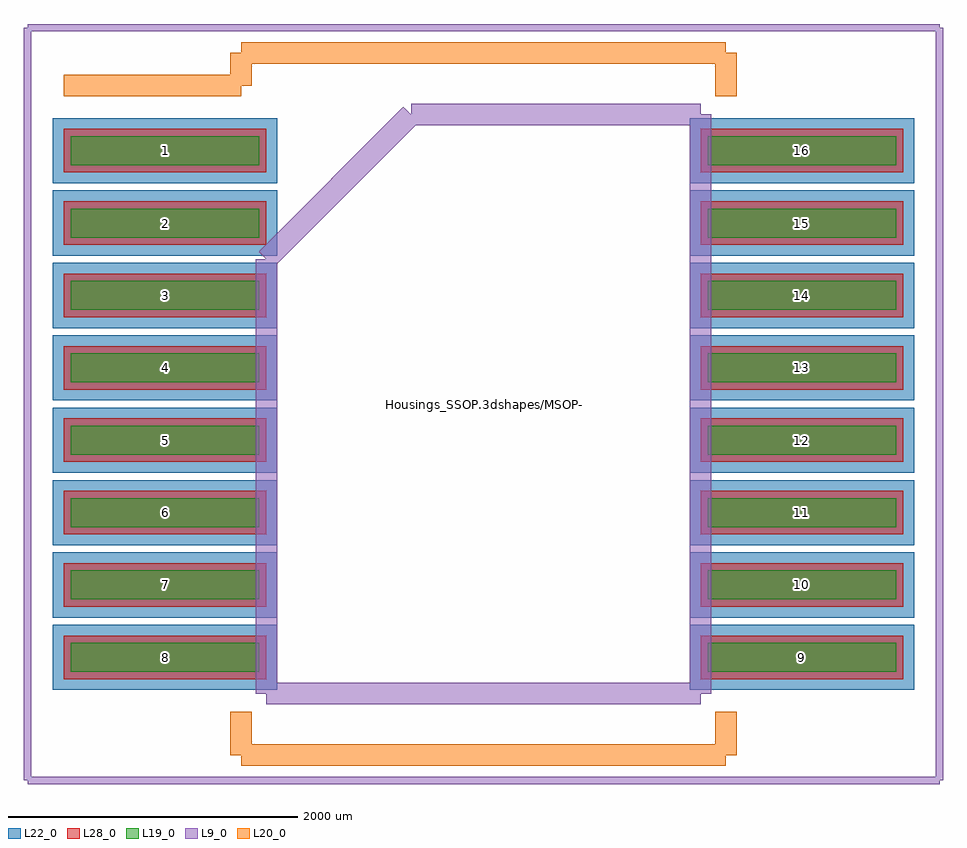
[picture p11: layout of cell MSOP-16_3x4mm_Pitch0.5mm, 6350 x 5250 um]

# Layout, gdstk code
import gdstk
lib = gdstk.Library(unit=1e-6, precision=1e-09)
def R(c, l, rs):  # rectangles x0, y0, x1, y1
    for r in rs: c.add(gdstk.rectangle(r[:2], r[2:], *l))
def A(c, l, x, y, w, h, nx, ny, dx, dy):  # array of equal rectangles
    R(c, l, [(x+i*dx, y+j*dy, x+i*dx+w, y+j*dy+h) for i in range(nx) for j in range(ny)])
L9_0 = (9, 0)
L19_0 = (19, 0)
L20_0 = (20, 0)
L22_0 = (22, 0)
L28_0 = (28, 0)

msop_16_3x4mm_pitch0_5mm = lib.new_cell('MSOP-16_3x4mm_Pitch0.5mm')
A(msop_16_3x4mm_pitch0_5mm, L19_0, -2850, -1850, 1300, 200, 1, 8, 0, 500)
A(msop_16_3x4mm_pitch0_5mm, L19_0, 1550, -1850, 1300, 200, 1, 8, 0, 500)
A(msop_16_3x4mm_pitch0_5mm, L22_0, -2975, -1975, 1550, 450, 1, 8, 0, 500)
A(msop_16_3x4mm_pitch0_5mm, L22_0, 1425, -1975, 1550, 450, 1, 8, 0, 500)
A(msop_16_3x4mm_pitch0_5mm, L28_0, -2900, -1900, 1400, 300, 1, 8, 0, 500)
A(msop_16_3x4mm_pitch0_5mm, L28_0, 1500, -1900, 1400, 300, 1, 8, 0, 500)
msop_16_3x4mm_pitch0_5mm.add(gdstk.FlexPath([(-1675,2200),(-2900,2200)], 149.998, ends="flush", simple_path=True, layer=20, datatype=0))  # L20_0
msop_16_3x4mm_pitch0_5mm.add(gdstk.FlexPath([(-1675,-2425),(1675,-2425)], 149.998, ends="flush", simple_path=True, layer=20, datatype=0))  # L20_0
msop_16_3x4mm_pitch0_5mm.add(gdstk.FlexPath([(-1675,2425),(1675,2425)], 149.998, ends="flush", simple_path=True, layer=20, datatype=0))  # L20_0
msop_16_3x4mm_pitch0_5mm.add(gdstk.FlexPath([(-1675,-2425),(-1675,-2125)], 149.998, ends="flush", simple_path=True, layer=20, datatype=0))  # L20_0
msop_16_3x4mm_pitch0_5mm.add(gdstk.FlexPath([(1675,-2425),(1675,-2125)], 149.998, ends="flush", simple_path=True, layer=20, datatype=0))  # L20_0
msop_16_3x4mm_pitch0_5mm.add(gdstk.FlexPath([(1675,2425),(1675,2125)], 149.998, ends="flush", simple_path=True, layer=20, datatype=0))  # L20_0
msop_16_3x4mm_pitch0_5mm.add(gdstk.FlexPath([(-1675,2425),(-1675,2200)], 149.998, ends="flush", simple_path=True, layer=20, datatype=0))  # L20_0
msop_16_3x4mm_pitch0_5mm.add(gdstk.FlexPath([(-3150,-2600),(3150,-2600)], 50, ends="flush", simple_path=True, layer=9, datatype=0))  # L9_0
msop_16_3x4mm_pitch0_5mm.add(gdstk.FlexPath([(-3150,2600),(3150,2600)], 50, ends="flush", simple_path=True, layer=9, datatype=0))  # L9_0
msop_16_3x4mm_pitch0_5mm.add(gdstk.FlexPath([(3150,2600),(3150,-2600)], 50, ends="flush", simple_path=True, layer=9, datatype=0))  # L9_0
msop_16_3x4mm_pitch0_5mm.add(gdstk.FlexPath([(-3150,2600),(-3150,-2600)], 50, ends="flush", simple_path=True, layer=9, datatype=0))  # L9_0
msop_16_3x4mm_pitch0_5mm.add(gdstk.FlexPath([(-1500,1000),(-500,2000)], 149.998, ends="flush", simple_path=True, layer=9, datatype=0))  # L9_0
msop_16_3x4mm_pitch0_5mm.add(gdstk.FlexPath([(-1500,-2000),(-1500,1000)], 149.998, ends="flush", simple_path=True, layer=9, datatype=0))  # L9_0
msop_16_3x4mm_pitch0_5mm.add(gdstk.FlexPath([(1500,-2000),(-1500,-2000)], 149.998, ends="flush", simple_path=True, layer=9, datatype=0))  # L9_0
msop_16_3x4mm_pitch0_5mm.add(gdstk.FlexPath([(1500,2000),(1500,-2000)], 149.998, ends="flush", simple_path=True, layer=9, datatype=0))  # L9_0
msop_16_3x4mm_pitch0_5mm.add(gdstk.FlexPath([(-500,2000),(1500,2000)], 149.998, ends="flush", simple_path=True, layer=9, datatype=0))  # L9_0
msop_16_3x4mm_pitch0_5mm.add(gdstk.Label('Housings_SSOP.3dshapes/MSOP-16_3x4mm_Pitch0.5mm.wrl', (0,0), layer=12, texttype=0))
msop_16_3x4mm_pitch0_5mm.add(gdstk.Label('9', (2200,-1750), layer=28, texttype=0))
msop_16_3x4mm_pitch0_5mm.add(gdstk.Label('10', (2200,-1250), layer=28, texttype=0))
msop_16_3x4mm_pitch0_5mm.add(gdstk.Label('11', (2200,-750), layer=28, texttype=0))
msop_16_3x4mm_pitch0_5mm.add(gdstk.Label('8', (-2200,-1750), layer=28, texttype=0))
msop_16_3x4mm_pitch0_5mm.add(gdstk.Label('7', (-2200,-1250), layer=28, texttype=0))
msop_16_3x4mm_pitch0_5mm.add(gdstk.Label('6', (-2200,-750), layer=28, texttype=0))
msop_16_3x4mm_pitch0_5mm.add(gdstk.Label('16', (2200,1750), layer=28, texttype=0))
msop_16_3x4mm_pitch0_5mm.add(gdstk.Label('15', (2200,1250), layer=28, texttype=0))
msop_16_3x4mm_pitch0_5mm.add(gdstk.Label('14', (2200,750), layer=28, texttype=0))
msop_16_3x4mm_pitch0_5mm.add(gdstk.Label('13', (2200,250), layer=28, texttype=0))
msop_16_3x4mm_pitch0_5mm.add(gdstk.Label('12', (2200,-250), layer=28, texttype=0))
msop_16_3x4mm_pitch0_5mm.add(gdstk.Label('5', (-2200,-250), layer=28, texttype=0))
msop_16_3x4mm_pitch0_5mm.add(gdstk.Label('4', (-2200,250), layer=28, texttype=0))
msop_16_3x4mm_pitch0_5mm.add(gdstk.Label('3', (-2200,750), layer=28, texttype=0))
msop_16_3x4mm_pitch0_5mm.add(gdstk.Label('2', (-2200,1250), layer=28, texttype=0))
msop_16_3x4mm_pitch0_5mm.add(gdstk.Label('1', (-2200,1750), layer=28, texttype=0))
msop_16_3x4mm_pitch0_5mm.add(gdstk.Label('type', (0,-3500), layer=9, texttype=0))
msop_16_3x4mm_pitch0_5mm.add(gdstk.Label('devicename', (0,3350), layer=9, texttype=0))

lib.write_gds('MSOP-16_3x4mm_Pitch0.5mm.gds')
